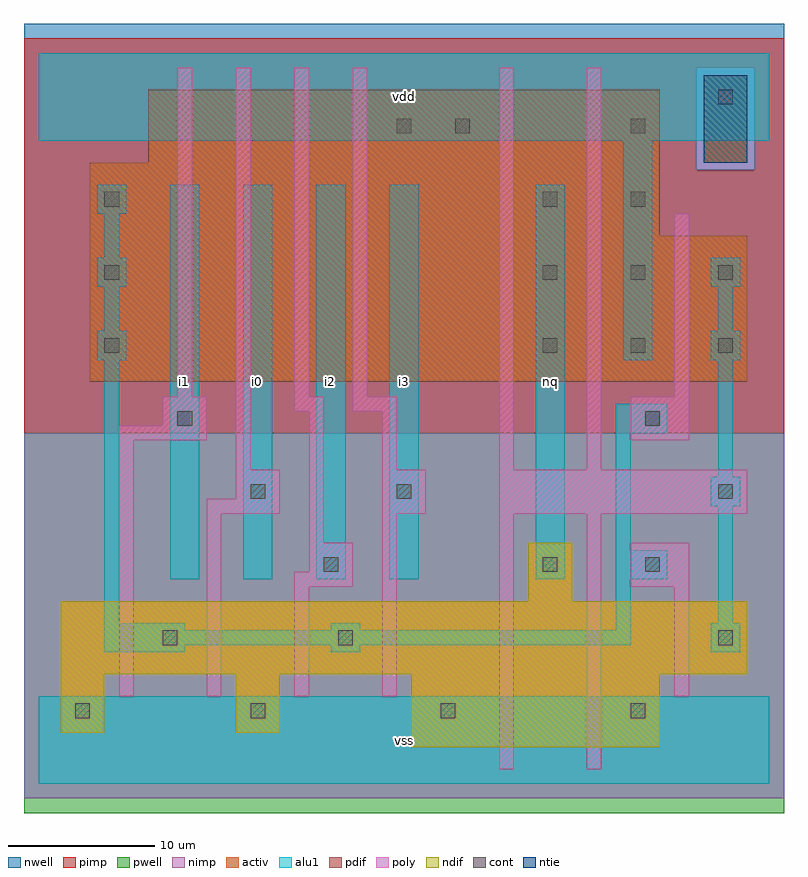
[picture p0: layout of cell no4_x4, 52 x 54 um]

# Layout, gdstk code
import gdstk
lib = gdstk.Library(unit=1e-6, precision=1e-09)
def R(c, l, rs):  # rectangles x0, y0, x1, y1
    for r in rs: c.add(gdstk.rectangle(r[:2], r[2:], *l))
def A(c, l, x, y, w, h, nx, ny, dx, dy):  # array of equal rectangles
    R(c, l, [(x+i*dx, y+j*dy, x+i*dx+w, y+j*dy+h) for i in range(nx) for j in range(ny)])
ndif = (3, 0)
pdif = (4, 0)
ntie = (5, 0)
cont = (25, 0)
pwell = (41, 0)
nwell = (42, 0)
activ = (43, 0)
pimp = (44, 0)
nimp = (45, 0)
poly = (46, 0)
alu1 = (49, 0)

no4_x4 = lib.new_cell('no4_x4')
R(no4_x4, ndif, [(25.5,2.5,42.5,7.5), (1.5,3.5,4.5,7.5), (13.5,3.5,16.5,7.5), (1.5,7.5,48.5,12.5), (33.5,12.5,36.5,16.5)])
R(no4_x4, pdif, [(3.5,27.5,48.5,37.5), (3.5,37.5,42.5,42.5), (7.5,42.5,42.5,47.5)])
R(no4_x4, ntie, [(45.5,42.5,48.5,48.5)])
A(no4_x4, cont, 14.5, 4.5, 1, 1, 3, 1, 13, 0)
A(no4_x4, cont, 4.5, 29.5, 1, 1, 1, 3, 0, 5)
A(no4_x4, cont, 34.5, 29.5, 1, 1, 3, 2, 6, 5)
R(no4_x4, cont, [(2.5,4.5,3.5,5.5), (8.5,9.5,9.5,10.5), (20.5,9.5,21.5,10.5), (46.5,9.5,47.5,10.5), (19.5,14.5,20.5,15.5), (34.5,14.5,35.5,15.5), (41.5,14.5,42.5,15.5), (14.5,19.5,15.5,20.5), (24.5,19.5,25.5,20.5), (46.5,19.5,47.5,20.5), (9.5,24.5,10.5,25.5), (41.5,24.5,42.5,25.5), (34.5,39.5,35.5,40.5), (40.5,39.5,41.5,40.5), (24.5,44.5,25.5,45.5), (28.5,44.5,29.5,45.5), (40.5,44.5,41.5,45.5), (46.5,46.5,47.5,47.5)])
R(no4_x4, pwell, [(-1,-2,51,24)])
R(no4_x4, nwell, [(-1,24,51,52)])
R(no4_x4, activ, [(25.5,2.5,42.5,7.5), (1.5,3.5,4.5,7.5), (13.5,3.5,16.5,7.5), (1.5,7.5,48.5,12.5), (33.5,12.5,36.5,16.5), (3.5,27.5,48.5,37.5), (3.5,37.5,42.5,42.5), (7.5,42.5,42.5,47.5), (45.5,42.5,48.5,48.5)])
R(no4_x4, pimp, [(-1,24,51,42), (-1,42,45,49), (49,42,51,49), (-1,49,51,51)])
R(no4_x4, nimp, [(-1,-1,51,24), (45,42,49,49)])
R(no4_x4, poly, [(31.5,1,32.5,18.5), (37.5,1,38.5,18.5), (5.5,6,6.5,23.5), (11.5,6,12.5,18.5), (17.5,6,18.5,13.5), (23.5,6,24.5,18.5), (43.5,6,44.5,13.5), (17.5,13.5,21.5,14.5), (40.5,13.5,44.5,16.5), (18.5,14.5,21.5,16.5), (18.5,16.5,19.5,25.5), (11.5,18.5,16.5,19.5), (23.5,18.5,26.5,21.5), (31.5,18.5,48.5,21.5), (13.5,19.5,16.5,21.5), (13.5,21.5,14.5,49), (23.5,21.5,24.5,25.5), (31.5,21.5,32.5,49), (37.5,21.5,38.5,49), (5.5,23.5,11.5,24.5), (40.5,23.5,44.5,26.5), (8.5,24.5,11.5,26.5), (17.5,25.5,19.5,26.5), (21.5,25.5,24.5,26.5), (9.5,26.5,10.5,49), (17.5,26.5,18.5,49), (21.5,26.5,22.5,49), (43.5,26.5,44.5,39)])
A(no4_x4, alu1, 46, 9, 2, 2, 1, 3, 0, 10)
A(no4_x4, alu1, 9, 14, 2, 27, 4, 1, 5, 0)
A(no4_x4, alu1, 4, 29, 2, 2, 1, 3, 0, 5)
R(no4_x4, alu1, [(0,0,50,6), (4.5,9,10,9.5), (20,9,22,9.5), (4.5,9.5,40.5,10.5), (4.5,10.5,10,11), (20,10.5,22,11), (39.5,10.5,40.5,14), (4.5,11,5.5,29), (46.5,11,47.5,19), (34,14,36,41), (39.5,14,43,16), (39.5,16,40.5,24), (46.5,21,47.5,29), (39.5,24,43,26), (40,29,42,44), (4.5,31,5.5,34), (46.5,31,47.5,34), (46,34,48,36), (4.5,36,5.5,39), (0,44,50,50)])
no4_x4.add(gdstk.Label('i1', (10,27.5), layer=49, texttype=0))
no4_x4.add(gdstk.Label('i2', (20,27.5), layer=49, texttype=0))
no4_x4.add(gdstk.Label('i0', (15,27.5), layer=49, texttype=0))
no4_x4.add(gdstk.Label('vss', (25,3), layer=49, texttype=0))
no4_x4.add(gdstk.Label('nq', (35,27.5), layer=49, texttype=0))
no4_x4.add(gdstk.Label('i3', (25,27.5), layer=49, texttype=0))
no4_x4.add(gdstk.Label('vdd', (25,47), layer=49, texttype=0))

lib.write_gds('no4_x4.gds')
